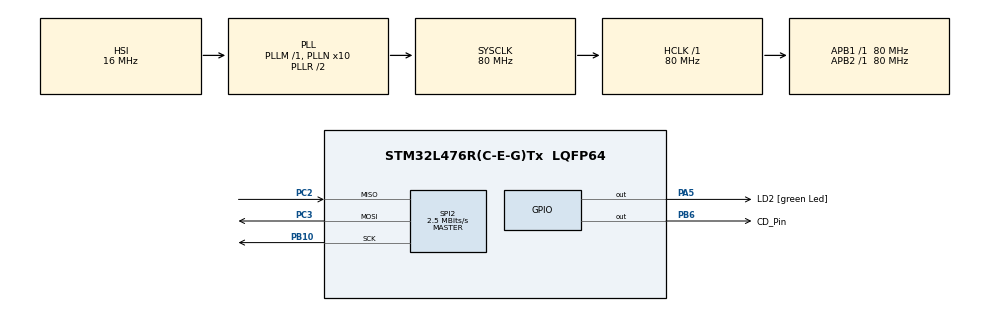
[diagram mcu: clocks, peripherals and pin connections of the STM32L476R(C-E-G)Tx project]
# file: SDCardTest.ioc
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FATFS._FS_EXFAT=1
FATFS._MAX_SS=4096
FATFS._USE_LFN=1
Mcu.Family=STM32L4
Mcu.Name=STM32L476R(C-E-G)Tx
Mcu.Package=LQFP64
NVIC.PriorityGroup=NVIC_PRIORITYGROUP_4
NVIC.RTC_WKUP_IRQn=true\:0\:0\:false\:false\:true\:true\:true\:true
NVIC.TIM2_IRQn=true\:0\:0\:false\:false\:true\:true\:true\:true
PA13\ (JTMS-SWDIO).GPIO_Label=TMS
PA13\ (JTMS-SWDIO).Mode=Serial_Wire
PA13\ (JTMS-SWDIO).Signal=SYS_JTMS-SWDIO
PA14\ (JTCK-SWCLK).GPIO_Label=TCK
PA14\ (JTCK-SWCLK).Mode=Serial_Wire
PA14\ (JTCK-SWCLK).Signal=SYS_JTCK-SWCLK
PA5.GPIO_Label=LD2 [green Led]
PA5.GPIO_ModeDefaultOutputPP=GPIO_MODE_OUTPUT_PP
PA5.GPIO_PuPd=GPIO_NOPULL
PA5.GPIO_Speed=GPIO_SPEED_FREQ_LOW
PA5.Signal=GPIO_Output
PB10.GPIO_PuPd=GPIO_NOPULL
PB10.Mode=Full_Duplex_Master
PB10.Signal=SPI2_SCK
PB3\ (JTDO-TRACESWO).GPIO_Label=SWO
PB3\ (JTDO-TRACESWO).Signal=SYS_JTDO-SWO
PB6.GPIO_Label=CD_Pin
PB6.GPIO_PuPd=GPIO_PULLUP
PB6.Signal=GPIO_Output
PC14-OSC32_IN\ (PC14).Mode=LSE-External-Oscillator
PC14-OSC32_IN\ (PC14).Signal=RCC_OSC32_IN
PC15-OSC32_OUT\ (PC15).Mode=LSE-External-Oscillator
PC15-OSC32_OUT\ (PC15).Signal=RCC_OSC32_OUT
PC2.GPIO_PuPd=GPIO_PULLUP
PC2.Mode=Full_Duplex_Master
PC2.Signal=SPI2_MISO
PC3.GPIO_PuPd=GPIO_PULLUP
PC3.Mode=Full_Duplex_Master
PC3.Signal=SPI2_MOSI
PH0-OSC_IN\ (PH0).Signal=RCC_OSC_IN
PH1-OSC_OUT\ (PH1).Signal=RCC_OSC_OUT
ProjectManager.HeapSize=0x200
ProjectManager.StackSize=0x400
ProjectManager.TargetToolchain=STM32CubeIDE
RCC.ADCFreq_Value=64000000
RCC.AHBFreq_Value=80000000
RCC.APB1Freq_Value=80000000
RCC.APB1TimFreq_Value=80000000
RCC.APB2Freq_Value=80000000
RCC.APB2TimFreq_Value=80000000
RCC.CortexFreq_Value=80000000
RCC.HCLKFreq_Value=80000000
RCC.HSE_VALUE=8000000
RCC.HSI_VALUE=16000000
RCC.LPTIM1CLockSelection=RCC_LPTIM1CLKSOURCE_LSI
RCC.MSIClockRange=RCC_MSIRANGE_5
RCC.MSI_VALUE=2000000
RCC.PLLN=10
RCC.PLLSAI1Q=RCC_PLLQ_DIV4
RCC.PLLSourceVirtual=RCC_PLLSOURCE_HSI
RCC.PREFETCH_ENABLE=1
RCC.RTCClockSelection=RCC_RTCCLKSOURCE_LSE
RCC.SYSCLKFreq_VALUE=80000000
RCC.SYSCLKSource=RCC_SYSCLKSOURCE_PLLCLK
RCC.USBFreq_Value=32000000
RCC.VCOOutputFreq_Value=160000000
RTC.WakeUpClock-WakeUp=RTC_WAKEUPCLOCK_CK_SPRE_16BITS
SPI2.BaudRatePrescaler=SPI_BAUDRATEPRESCALER_32
SPI2.CalculateBaudRate=2.5 MBits/s
SPI2.DataSize=SPI_DATASIZE_8BIT
SPI2.Direction=SPI_DIRECTION_2LINES
SPI2.Mode=SPI_MODE_MASTER
SPI2.VirtualType=VM_MASTER
TIM2.Period=10000-1
TIM2.Prescaler=8000-1
VP_FATFS_VS_Generic.Mode=User_defined
VP_RTC_VS_RTC_Activate.Mode=RTC_Enabled
VP_RTC_VS_RTC_WakeUp_intern.Mode=WakeUp
VP_TIM2_VS_ClockSourceINT.Mode=Internal
board=NUCLEO-L476RG

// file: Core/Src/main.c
/* USER CODE BEGIN Header */
/**
  ******************************************************************************
  * @file           : main.c
  * @brief          : Main program body
  ******************************************************************************
  * @attention
  *
  * Copyright (c) 2022 STMicroelectronics.
  * All rights reserved.
  *
  * This software is licensed under terms that can be found in the LICENSE file
  * in the root directory of this software component.
  * If no LICENSE file comes with this software, it is provided AS-IS.
  *
  ******************************************************************************
  */
/* USER CODE END Header */
#include "main.h"
#include "fatfs.h"
#include "rtc.h"
#include "spi.h"
#include "tim.h"
#include "gpio.h"

/* USER CODE BEGIN Includes */
#include <stdio.h>
#include "fatfs_sd.h"
#include "string.h"
/* USER CODE END Includes */

/* USER CODE BEGIN PV */
FATFS fs;               // 登録するワーク・エリア保存
FIL fil;                // ファイル・オブジェクト構造体へのポインタ
FRESULT fresult;        // ファイルアクセス戻り値結果
char buffer[1024];      // 書き込む文字のバッファ
UINT bw;                // 書き込んだ文字のバイト数

static const char* fileName = "test_file.txt";	// file name
/* USER CODE END PV */

void SystemClock_Config(void);
/* USER CODE BEGIN PFP */
void SystemClock_Config_UseMSI(void);
/* USER CODE END PFP */

int main(void)
{

  /* MCU Configuration--------------------------------------------------------*/

  /* Reset of all peripherals, Initializes the Flash interface and the Systick. */
  HAL_Init();

  /* Configure the system clock */
  SystemClock_Config();

  /* Initialize all configured peripherals */
  MX_GPIO_Init();
  MX_RTC_Init();
  MX_TIM2_Init();
  MX_FATFS_Init();
  MX_SPI2_Init();
  /* USER CODE BEGIN 2 */
  fresult = f_mount(&fs, "/", 1);						// SD Card Mount
  if(fresult != FR_OK)
  {
	  Error_Handler();							// Error
  }

  strcpy(buffer, "ABCDEFG");
  fresult = f_open(&fil, fileName, FA_WRITE | FA_OPEN_ALWAYS);			// File Open
  if(fresult == FR_OK)
  {
	  f_lseek(&fil, f_size(&fil));
	  fresult = f_write(&fil, buffer, strlen(buffer), &bw);			// File Write
	  f_close(&fil);							// File Close
  }

  /* USER CODE END 2 */

  /* Infinite loop */
  while (1)
  {

    /* USER CODE BEGIN 3 */
	  HAL_GPIO_TogglePin(LD2_GPIO_Port, LD2_Pin);				// Toggle LD2
	  HAL_Delay(1000);							// Wait 1000ms
  }
  /* USER CODE END 3 */
}

void SystemClock_Config(void)
{
  RCC_OscInitTypeDef RCC_OscInitStruct = {0};
  RCC_ClkInitTypeDef RCC_ClkInitStruct = {0};

  /** Configure the main internal regulator output voltage
  */
  if (HAL_PWREx_ControlVoltageScaling(PWR_REGULATOR_VOLTAGE_SCALE1) != HAL_OK)
  {
    Error_Handler();
  }

  /** Configure LSE Drive Capability
  */
  HAL_PWR_EnableBkUpAccess();
  __HAL_RCC_LSEDRIVE_CONFIG(RCC_LSEDRIVE_LOW);

  /** Initializes the RCC Oscillators according to the specified parameters
  * in the RCC_OscInitTypeDef structure.
  */
  RCC_OscInitStruct.OscillatorType = RCC_OSCILLATORTYPE_HSI|RCC_OSCILLATORTYPE_LSE;
  RCC_OscInitStruct.LSEState = RCC_LSE_ON;
  RCC_OscInitStruct.HSIState = RCC_HSI_ON;
  RCC_OscInitStruct.HSICalibrationValue = RCC_HSICALIBRATION_DEFAULT;
  RCC_OscInitStruct.PLL.PLLState = RCC_PLL_ON;
  RCC_OscInitStruct.PLL.PLLSource = RCC_PLLSOURCE_HSI;
  RCC_OscInitStruct.PLL.PLLM = 1;
  RCC_OscInitStruct.PLL.PLLN = 10;
  RCC_OscInitStruct.PLL.PLLP = RCC_PLLP_DIV7;
  RCC_OscInitStruct.PLL.PLLQ = RCC_PLLQ_DIV2;
  RCC_OscInitStruct.PLL.PLLR = RCC_PLLR_DIV2;
  if (HAL_RCC_OscConfig(&RCC_OscInitStruct) != HAL_OK)
  {
    Error_Handler();
  }

  /** Initializes the CPU, AHB and APB buses clocks
  */
  RCC_ClkInitStruct.ClockType = RCC_CLOCKTYPE_HCLK|RCC_CLOCKTYPE_SYSCLK
                              |RCC_CLOCKTYPE_PCLK1|RCC_CLOCKTYPE_PCLK2;
  RCC_ClkInitStruct.SYSCLKSource = RCC_SYSCLKSOURCE_PLLCLK;
  RCC_ClkInitStruct.AHBCLKDivider = RCC_SYSCLK_DIV1;
  RCC_ClkInitStruct.APB1CLKDivider = RCC_HCLK_DIV1;
  RCC_ClkInitStruct.APB2CLKDivider = RCC_HCLK_DIV1;

  if (HAL_RCC_ClockConfig(&RCC_ClkInitStruct, FLASH_LATENCY_4) != HAL_OK)
  {
    Error_Handler();
  }
}

/* USER CODE BEGIN 4 */

/**
  * @brief System Clock Configuration Use MSI
  * @retval None
  */
void SystemClock_Config_UseMSI(void)
{
  RCC_OscInitTypeDef RCC_OscInitStruct = {0};
  RCC_ClkInitTypeDef RCC_ClkInitStruct = {0};

  /** Configure the main internal regulator output voltage
  */
  if (HAL_PWREx_ControlVoltageScaling(PWR_REGULATOR_VOLTAGE_SCALE1) != HAL_OK)
  {
    Error_Handler();
  }

  /** Configure LSE Drive Capability
  */
  HAL_PWR_EnableBkUpAccess();
  __HAL_RCC_LSEDRIVE_CONFIG(RCC_LSEDRIVE_LOW);

  /** Initializes the RCC Oscillators according to the specified parameters
  * in the RCC_OscInitTypeDef structure.
  */
  RCC_OscInitStruct.OscillatorType = RCC_OSCILLATORTYPE_LSI|RCC_OSCILLATORTYPE_LSE
                              |RCC_OSCILLATORTYPE_MSI;
  RCC_OscInitStruct.LSEState = RCC_LSE_ON;
  RCC_OscInitStruct.LSIState = RCC_LSI_ON;
  RCC_OscInitStruct.MSIState = RCC_MSI_ON;
  RCC_OscInitStruct.MSICalibrationValue = 0;
  RCC_OscInitStruct.MSIClockRange = RCC_MSIRANGE_5;
  RCC_OscInitStruct.PLL.PLLState = RCC_PLL_NONE;
  if (HAL_RCC_OscConfig(&RCC_OscInitStruct) != HAL_OK)
  {
    Error_Handler();
  }

  /** Initializes the CPU, AHB and APB buses clocks
  */
  RCC_ClkInitStruct.ClockType = RCC_CLOCKTYPE_HCLK|RCC_CLOCKTYPE_SYSCLK
                              |RCC_CLOCKTYPE_PCLK1|RCC_CLOCKTYPE_PCLK2;
  RCC_ClkInitStruct.SYSCLKSource = RCC_SYSCLKSOURCE_MSI;
  RCC_ClkInitStruct.AHBCLKDivider = RCC_SYSCLK_DIV1;
  RCC_ClkInitStruct.APB1CLKDivider = RCC_HCLK_DIV1;
  RCC_ClkInitStruct.APB2CLKDivider = RCC_HCLK_DIV1;

  if (HAL_RCC_ClockConfig(&RCC_ClkInitStruct, FLASH_LATENCY_0) != HAL_OK)
  {
    Error_Handler();
  }

  /** Enable MSI Auto calibration
  */
  HAL_RCCEx_EnableMSIPLLMode();
}

/* USER CODE END 4 */

void Error_Handler(void)
{
  /* USER CODE BEGIN Error_Handler_Debug */
  /* User can add his own implementation to report the HAL error return state */
  //__disable_irq();
  while (1)
  {
	  HAL_GPIO_TogglePin(LD2_GPIO_Port, LD2_Pin);		// Toggle LD2
	  HAL_Delay(100);									// Wait 100ms
  }
  /* USER CODE END Error_Handler_Debug */
}
